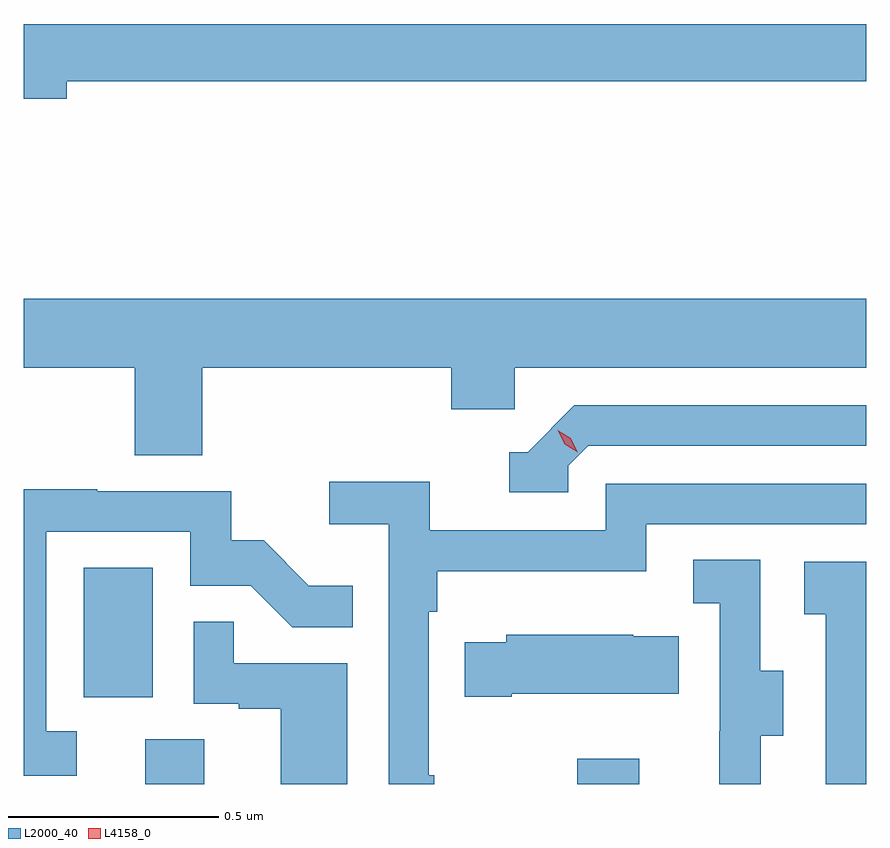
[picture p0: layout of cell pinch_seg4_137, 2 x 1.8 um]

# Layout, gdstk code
import gdstk
lib = gdstk.Library(unit=1e-6, precision=1e-09)
def R(c, l, rs):  # rectangles x0, y0, x1, y1
    for r in rs: c.add(gdstk.rectangle(r[:2], r[2:], *l))
def P(c, l, *ps):  # polygons
    for p in ps: c.add(gdstk.Polygon(p, *l))
L2000_40 = (2000, 40)
L4158_0 = (4158, 0)

pinch_seg4_137 = lib.new_cell('pinch_seg4_137')
R(pinch_seg4_137, L2000_40, [(1030.601,795.832,1030.741,795.938), (1031.626,795.832,1031.773,795.892), (1030.454,796.038,1030.618,796.345)])
P(pinch_seg4_137, L2000_40, [(1030.414,797.5),(1032.312,797.5),(1032.312,797.636),(1030.312,797.636),(1030.312,797.458),(1030.414,797.458)],
  [(1030.736,796.82),(1031.327,796.82),(1031.327,796.722),(1031.478,796.722),(1031.478,796.82),(1032.312,796.82),(1032.312,796.984),(1030.312,796.984),(1030.312,796.82),(1030.576,796.82),(1030.576,796.612),(1030.736,796.612)],
  [(1031.604,796.587),(1031.652,796.635),(1032.312,796.635),(1032.312,796.731),(1031.619,796.731),(1031.508,796.62),(1031.465,796.62),(1031.465,796.524),(1031.604,796.524)],
  [(1031.287,795.853),(1031.274,795.853),(1031.274,796.241),(1031.294,796.241),(1031.294,796.337),(1031.79,796.337),(1031.79,796.449),(1032.312,796.449),(1032.312,796.545),(1031.694,796.545),(1031.694,796.434),(1031.276,796.434),(1031.276,796.55),(1031.037,796.55),(1031.037,796.448),(1031.178,796.448),(1031.178,795.832),(1031.287,795.832)],
  [(1030.438,795.957),(1030.365,795.957),(1030.365,796.431),(1030.707,796.431),(1030.707,796.302),(1030.851,796.302),(1030.949,796.204),(1031.093,796.204),(1031.093,796.303),(1030.989,796.303),(1030.882,796.41),(1030.805,796.41),(1030.805,796.527),(1030.487,796.527),(1030.487,796.532),(1030.312,796.532),(1030.312,795.852),(1030.438,795.852)],
  [(1032.061,795.946),(1032.115,795.946),(1032.115,796.101),(1032.06,796.101),(1032.06,796.364),(1031.901,796.364),(1031.901,796.261),(1031.964,796.261),(1031.964,795.957),(1031.963,795.957),(1031.963,795.832),(1032.061,795.832)],
  [(1032.312,796.359),(1032.165,796.359),(1032.165,796.235),(1032.216,796.235),(1032.216,795.832),(1032.312,795.832)],
  [(1031.08,796.119),(1030.811,796.119),(1030.811,796.217),(1030.716,796.217),(1030.716,796.023),(1030.823,796.023),(1030.823,796.011),(1030.922,796.011),(1030.922,795.832),(1031.08,795.832)],
  [(1031.47,796.046),(1031.867,796.046),(1031.867,796.183),(1031.759,796.183),(1031.759,796.186),(1031.457,796.186),(1031.457,796.168),(1031.359,796.168),(1031.359,796.039),(1031.47,796.039)])
P(pinch_seg4_137, L4158_0, [(1031.627,796.62),(1031.596,796.639),(1031.58,796.672),(1031.58,796.672),(1031.58,796.672),(1031.611,796.653),(1031.627,796.62),(1031.627,796.62)])

lib.write_gds('pinch_seg4_137.gds')
